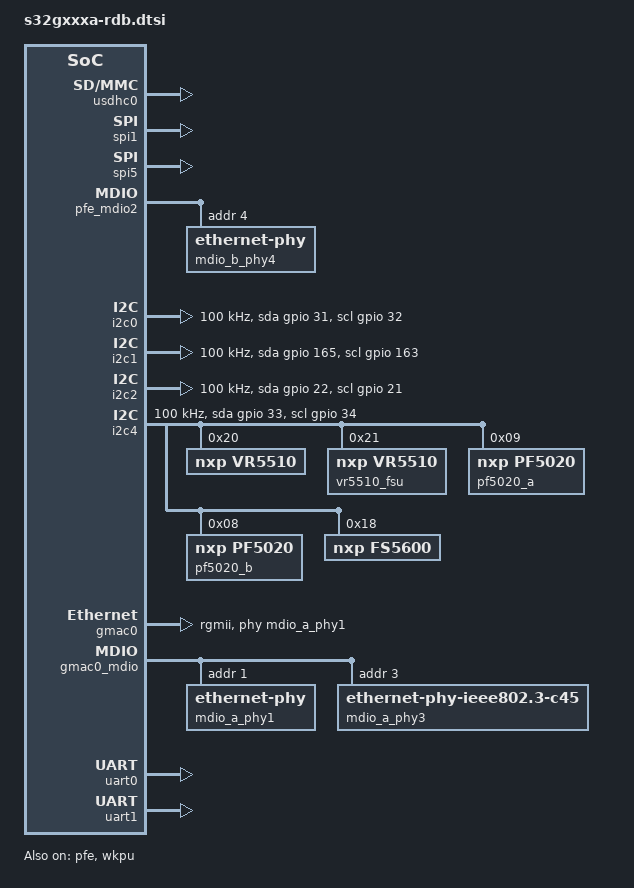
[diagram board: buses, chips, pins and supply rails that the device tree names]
// SPDX-License-Identifier: (GPL-2.0+ OR BSD-3-Clause)
/*
 * Copyright 2019-2024 NXP
 */

#include <dt-bindings/gpio/gpio.h>
#include "s32g-nxp-flash-macronix.dtsi"

&usdhc0 {
	pinctrl-names = "default", "state_100mhz", "state_200mhz";
	/* By default sd0 pins were able to work at 100Mhz and 200Mhz */
	pinctrl-0 = <&sd0_pins_default>;
	pinctrl-1 = <&sd0_pins_100mhz>;
	pinctrl-2 = <&sd0_pins_200mhz>;
	status = "okay";
};

&spi1 {
	pinctrl-0 = <&dspi1_pins>;
	pinctrl-names = "default";
	status = "okay";
};

&spi5 {
	pinctrl-0 = <&dspi5_pins>;
	pinctrl-names = "default";
	status = "okay";
};

&pfe {
	status = "okay";
	pinctrl-0 = <&pfe2_mdio_pins>, <&pfe2_pins>;
	pinctrl-1 = <&pfe2_mdio_pins>;
	pinctrl-names = "default", "pfe_sgmii";
};

&pfe_mdio0 {
	/* unused */
	status = "disabled";
};

&pfe_mdio1 {
	/* occupied by GMAC0 */
	status = "disabled";
};

&pfe_mdio2 {
	status = "okay";
	#address-cells = <1>;
	#size-cells = <0>;
	/* AR8035 */
	mdio_b_phy4: ethernet-phy@4 {
		reg = <4>;
	};
	/* SJA1110's phys: 0x09-0x0e */
};

&pfe_netif0 {
	phy-mode = "sgmii";
	fixed-link {
		speed = <2500>;
		full-duplex;
	};
};

&pfe_netif1 {
	phy-mode = "sgmii";
};

&pfe_netif2 {
	phy-mode = "rgmii-id";
	phy-handle = <&mdio_b_phy4>;
};

/* IO Expander  */
&i2c0 {
	clock-frequency = <100000>;
	pinctrl-names = "default", "gpio";
	pinctrl-0 = <&i2c0_pins>;
	pinctrl-1 = <&i2c0_gpio_pins>;
	scl-gpios = <&gpio 32 (GPIO_ACTIVE_HIGH | GPIO_OPEN_DRAIN)>;
	sda-gpios = <&gpio 31 (GPIO_ACTIVE_HIGH | GPIO_OPEN_DRAIN)>;
	status = "okay";
};

/* PCIe X1 Connector  */
&i2c1 {
	clock-frequency = <100000>;
	pinctrl-names = "default", "gpio";
	pinctrl-0 = <&i2c1_pins>;
	pinctrl-1 = <&i2c1_gpio_pins>;
	scl-gpios = <&gpio 163 (GPIO_ACTIVE_HIGH | GPIO_OPEN_DRAIN)>;
	sda-gpios = <&gpio 165 (GPIO_ACTIVE_HIGH | GPIO_OPEN_DRAIN)>;
	status = "okay";
};

/* FLEXRAY_LIN  */
&i2c2 {
	clock-frequency = <100000>;
	pinctrl-names = "default", "gpio";
	pinctrl-0 = <&i2c2_pins>;
	pinctrl-1 = <&i2c2_gpio_pins>;
	scl-gpios = <&gpio 21 (GPIO_ACTIVE_HIGH | GPIO_OPEN_DRAIN)>;
	sda-gpios = <&gpio 22 (GPIO_ACTIVE_HIGH | GPIO_OPEN_DRAIN)>;
	status = "okay";
};

/* PMIC */
&i2c4 {
	clock-frequency = <100000>;
	pinctrl-names = "default", "gpio";
	pinctrl-0 = <&i2c4_pins>;
	pinctrl-1 = <&i2c4_gpio_pins>;
	scl-gpios = <&gpio 34 (GPIO_ACTIVE_HIGH | GPIO_OPEN_DRAIN)>;
	sda-gpios = <&gpio 33 (GPIO_ACTIVE_HIGH | GPIO_OPEN_DRAIN)>;
	status = "okay";

	vr5510@20 {
		compatible = "nxp,vr5510";
		reg = <0x20>;
		status = "okay";
	};

	vr5510_fsu@21 {
		compatible = "nxp,vr5510";
		reg = <0x21>;
		status = "okay";
	};

	pf5020_a@9 {
		compatible = "nxp,pf5020";
		reg = <0x9>;
		status = "okay";
	};

	pf5020_b@8 {
		compatible = "nxp,pf5020";
		reg = <0x8>;
		status = "okay";
	};

	fs5600@18 {
		compatible = "nxp,fs5600";
		reg = <0x18>;
		status = "okay";
	};
};

&gmac0 {
	status = "okay";
	phy-mode = "rgmii";
	/* Connected to KSZ9031 MDIO_A */
	phy-handle = <&mdio_a_phy1>;
};

&gmac0_mdio {
	#address-cells = <1>;
	#size-cells = <0>;
	/* KSZ9031 GMAC */
	mdio_a_phy1: ethernet-phy@1 {
		max-speed = <1000>;
		reg = <1>;
	};
	/* ARQ107 */
	mdio_a_phy3: ethernet-phy@3 {
		compatible = "ethernet-phy-ieee802.3-c45";
		reg = <3>;
	};
};

&pinctrl {
	u-boot,dm-pre-reloc;

	dspi1_pins: dspi1 {
		dspi1_grp0 {
			pinmux = <S32CC_PINMUX(6, FUNC2)>;
			output-enable;
			slew-rate = <S32CC_GPIO_3V3_SLEW_50MHZ>;
		};

		dspi1_grp1 {
			pinmux = <S32CC_PINMUX(7, FUNC2)>;
			output-enable;
			slew-rate = <S32CC_GPIO_3V3_SLEW_50MHZ>;
			bias-pull-up;
		};

		dspi1_grp2 {
			pinmux = <S32CC_PINMUX(8, FUNC3)>;
			output-enable;
			slew-rate = <S32CC_GPIO_3V3_SLEW_50MHZ>;
		};

		dspi1_grp3 {
			pinmux = <S32CC_PINMUX(95, FUNC0)>;
			input-enable;
			slew-rate = <S32CC_GPIO_3V3_SLEW_50MHZ>;
			bias-pull-up;
		};

		dspi1_grp4 {
			pinmux = <S32CC_PINMUX(987, FUNC2)>;
		};

	};

	dspi5_pins: dspi5 {
		dspi5_grp0 {
			pinmux = <S32CC_PINMUX(9, FUNC3)>,
				 <S32CC_PINMUX(11, FUNC3)>;
			output-enable;
			slew-rate = <S32CC_GPIO_3V3_SLEW_50MHZ>;
		};

		dspi5_grp1 {
			pinmux = <S32CC_PINMUX(10, FUNC0)>;
			input-enable;
			slew-rate = <S32CC_GPIO_3V3_SLEW_50MHZ>;
			bias-pull-up;
		};

		dspi5_grp2 {
			pinmux = <S32CC_PINMUX(12, FUNC3)>;
			output-enable;
			slew-rate = <S32CC_GPIO_3V3_SLEW_50MHZ>;
			bias-pull-up;
		};

		dspi5_grp3 {
			pinmux = <S32CC_PINMUX(1007, FUNC2)>;
		};

	};

	i2c0_pins: i2c0 {
		i2c0_grp0 {
			pinmux = <S32CC_PINMUX(31, FUNC2)>;
			drive-open-drain;
			output-enable;
			input-enable;
			slew-rate = <S32CC_GPIO_3V3_SLEW_50MHZ>;
		};

		i2c0_grp1 {
			pinmux = <S32CC_PINMUX(32, FUNC1)>;
			drive-open-drain;
			output-enable;
			input-enable;
			slew-rate = <S32CC_GPIO_3V3_SLEW_50MHZ>;
		};

		i2c0_grp2 {
			pinmux = <S32CC_PINMUX(565, FUNC3)>,
				 <S32CC_PINMUX(566, FUNC3)>;
		};

	};

	i2c0_gpio_pins: i2c0_gpio {
		i2c0_gpio_grp0 {
			pinmux = <S32CC_PINMUX(31, FUNC0)>,
				 <S32CC_PINMUX(32, FUNC0)>;
			drive-open-drain;
			output-enable;
			slew-rate = <S32CC_GPIO_3V3_SLEW_50MHZ>;
		};

		i2c0_gpio_grp1 {
			pinmux = <S32CC_PINMUX(565, FUNC0)>,
				 <S32CC_PINMUX(566, FUNC0)>;
		};

	};

	i2c1_pins: i2c1 {
		i2c1_grp0 {
			pinmux = <S32CC_PINMUX(163, FUNC3)>,
				 <S32CC_PINMUX(165, FUNC3)>;
			drive-open-drain;
			output-enable;
			input-enable;
			slew-rate = <S32CC_GPIO_3V3_SLEW_50MHZ>;
		};

		i2c1_grp1 {
			pinmux = <S32CC_PINMUX(717, FUNC5)>;
		};

		i2c1_grp2 {
			pinmux = <S32CC_PINMUX(718, FUNC4)>;
		};

	};

	i2c1_gpio_pins: i2c1_gpio {
		i2c1_gpio_grp0 {
			pinmux = <S32CC_PINMUX(163, FUNC0)>,
				 <S32CC_PINMUX(165, FUNC0)>;
			drive-open-drain;
			output-enable;
			slew-rate = <S32CC_GPIO_3V3_SLEW_50MHZ>;
		};

		i2c1_gpio_grp1 {
			pinmux = <S32CC_PINMUX(717, FUNC0)>,
				 <S32CC_PINMUX(718, FUNC0)>;
		};

	};

	i2c2_pins: i2c2 {
		i2c2_grp0 {
			pinmux = <S32CC_PINMUX(21, FUNC1)>,
				 <S32CC_PINMUX(22, FUNC1)>;
			drive-open-drain;
			output-enable;
			input-enable;
			slew-rate = <S32CC_GPIO_3V3_SLEW_50MHZ>;
		};

		i2c2_grp1 {
			pinmux = <S32CC_PINMUX(719, FUNC2)>,
				 <S32CC_PINMUX(720, FUNC2)>;
		};

	};

	i2c2_gpio_pins: i2c2_gpio {
		i2c2_gpio_grp0 {
			pinmux = <S32CC_PINMUX(21, FUNC0)>,
				 <S32CC_PINMUX(22, FUNC0)>;
			drive-open-drain;
			output-enable;
			slew-rate = <S32CC_GPIO_3V3_SLEW_50MHZ>;
		};

		i2c2_gpio_grp1 {
			pinmux = <S32CC_PINMUX(719, FUNC0)>,
				 <S32CC_PINMUX(720, FUNC0)>;
		};

	};

	i2c4_pins: i2c4 {
		i2c4_grp0 {
			pinmux = <S32CC_PINMUX(33, FUNC1)>;
			drive-open-drain;
			output-enable;
			input-enable;
			slew-rate = <S32CC_GPIO_3V3_SLEW_50MHZ>;
		};

		i2c4_grp1 {
			pinmux = <S32CC_PINMUX(34, FUNC2)>;
			drive-open-drain;
			output-enable;
			input-enable;
			slew-rate = <S32CC_GPIO_3V3_SLEW_50MHZ>;
		};

		i2c4_grp2 {
			pinmux = <S32CC_PINMUX(724, FUNC3)>,
				 <S32CC_PINMUX(723, FUNC3)>;
		};

	};

	i2c4_gpio_pins: i2c4_gpio {
		i2c4_gpio_grp0 {
			pinmux = <S32CC_PINMUX(33, FUNC0)>,
				 <S32CC_PINMUX(34, FUNC0)>;
			drive-open-drain;
			output-enable;
			slew-rate = <S32CC_GPIO_3V3_SLEW_50MHZ>;
		};

		i2c4_gpio_grp1 {
			pinmux = <S32CC_PINMUX(724, FUNC0)>,
				 <S32CC_PINMUX(723, FUNC0)>;
		};
	};

	uart0_pins: uart0 {
		uart0_grp0 {
			pinmux = <S32CC_PINMUX(41, FUNC1)>;
			output-enable;
			slew-rate = <S32CC_GPIO_3V3_SLEW_50MHZ>;
		};

		uart0_grp1 {
			pinmux = <S32CC_PINMUX(42, FUNC0)>;
			input-enable;
			slew-rate = <S32CC_GPIO_3V3_SLEW_50MHZ>;
		};

		uart0_pins_grp2 {
			pinmux = <S32CC_PINMUX(512, FUNC2)>;
		};
	};

	uart1_pins: uart1 {
		uart1_grp0 {
			pinmux = <S32CC_PINMUX(13, FUNC2)>;
			output-enable;
			slew-rate = <S32CC_GPIO_3V3_SLEW_50MHZ>;
		};

		uart1_grp1 {
			pinmux = <S32CC_PINMUX(16, FUNC0)>;
			input-enable;
			slew-rate = <S32CC_GPIO_3V3_SLEW_50MHZ>;
		};

		uart1_pins_grp2 {
			pinmux = <S32CC_PINMUX(736, FUNC2)>;
		};
	};
};

&uart0 {
	pinctrl-0 = <&uart0_pins>;
	pinctrl-names = "default";
	status = "okay";
};

&uart1 {
	pinctrl-0 = <&uart1_pins>;
	pinctrl-names = "default";
	status = "okay";
};

&wkpu {
	status = "okay";
};
